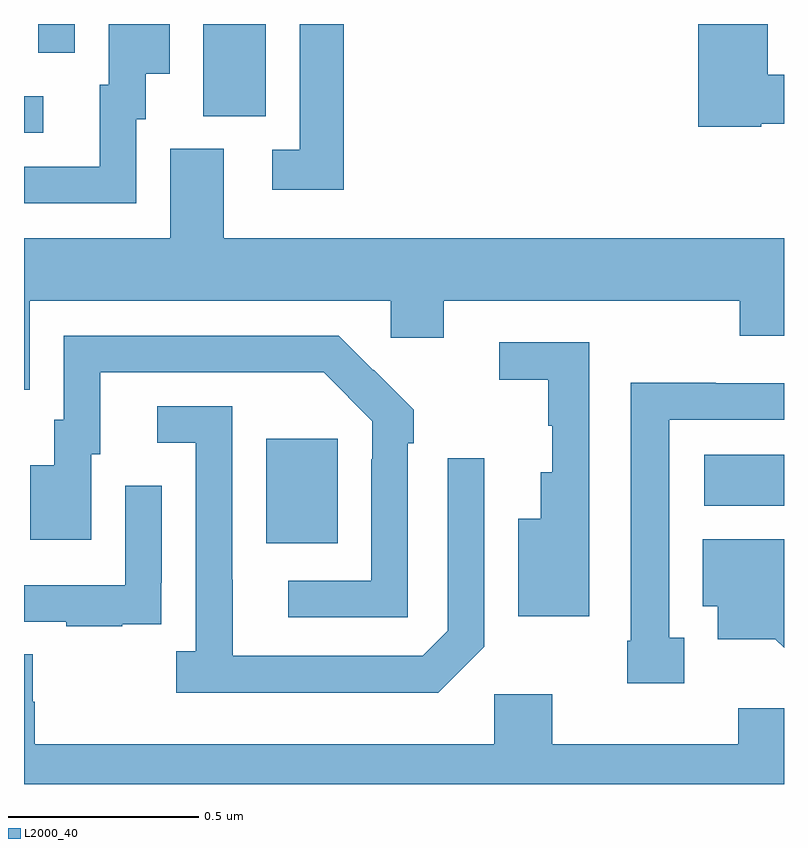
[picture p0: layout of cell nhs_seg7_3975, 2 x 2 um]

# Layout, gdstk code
import gdstk
lib = gdstk.Library(unit=1e-6, precision=1e-09)
def R(c, l, rs):  # rectangles x0, y0, x1, y1
    for r in rs: c.add(gdstk.rectangle(r[:2], r[2:], *l))
def P(c, l, *ps):  # polygons
    for p in ps: c.add(gdstk.Polygon(p, *l))
L2000_40 = (2000, 40)

nhs_seg7_3975 = lib.new_cell('nhs_seg7_3975')
R(nhs_seg7_3975, L2000_40, [(166.637,1010.633,166.825,1010.908), (167.79,1010.732,168,1010.866), (166,1011.714,166.051,1011.81), (166.472,1011.757,166.636,1012), (166.038,1011.924,166.134,1012)])
P(nhs_seg7_3975, L2000_40, [(166.296,1011.75),(166.321,1011.75),(166.321,1011.869),(166.384,1011.869),(166.384,1012),(166.223,1012),(166.223,1011.84),(166.199,1011.84),(166.199,1011.624),(166,1011.624),(166,1011.528),(166.296,1011.528)],
  [(166.841,1012),(166.725,1012),(166.725,1011.669),(166.653,1011.669),(166.653,1011.564),(166.841,1011.564)],
  [(167.94,1011.738),(168,1011.738),(168,1011.866),(167.957,1011.866),(167.957,1012),(167.774,1012),(167.774,1011.73),(167.94,1011.73)],
  [(166.015,1011.272),(166.965,1011.272),(166.965,1011.174),(167.104,1011.174),(167.104,1011.272),(167.884,1011.272),(167.884,1011.179),(168,1011.179),(168,1011.436),(166.525,1011.436),(166.525,1011.672),(166.385,1011.672),(166.385,1011.436),(166,1011.436),(166,1011.037),(166.015,1011.037)],
  [(167.01,1010.897),(167.025,1010.897),(167.025,1010.985),(166.92,1011.09),(166.919,1011.089),(166.828,1011.18),(166.104,1011.18),(166.104,1010.958),(166.079,1010.958),(166.079,1010.839),(166.016,1010.839),(166.016,1010.643),(166.177,1010.643),(166.177,1010.868),(166.201,1010.868),(166.201,1011.084),(166.789,1011.084),(166.917,1010.955),(166.917,1010.855),(166.914,1010.855),(166.914,1010.535),(166.695,1010.535),(166.695,1010.439),(167.01,1010.439)],
  [(167.488,1010.694),(167.487,1010.694),(167.487,1011.162),(167.25,1011.162),(167.25,1011.064),(167.379,1011.064),(167.379,1010.943),(167.39,1010.943),(167.39,1010.821),(167.36,1010.821),(167.36,1010.698),(167.3,1010.698),(167.3,1010.441),(167.488,1010.441)],
  [(167.737,1010.385),(167.698,1010.385),(167.698,1010.958),(168,1010.958),(168,1011.054),(167.82,1011.054),(167.82,1011.056),(167.597,1011.056),(167.597,1010.377),(167.587,1010.377),(167.587,1010.265),(167.737,1010.265)],
  [(167.211,1010.361),(167.211,1010.857),(167.115,1010.857),(167.115,1010.403),(167.049,1010.337),(166.549,1010.337),(166.549,1010.537),(166.548,1010.537),(166.548,1010.994),(166.35,1010.994),(166.35,1010.898),(166.452,1010.898),(166.452,1010.35),(166.401,1010.35),(166.401,1010.24),(167.09,1010.24)],
  [(166.259,1010.421),(166.361,1010.421),(166.361,1010.53),(166.362,1010.53),(166.362,1010.785),(166.266,1010.785),(166.266,1010.523),(166,1010.523),(166,1010.427),(166.111,1010.427),(166.111,1010.415),(166.259,1010.415)],
  [(168,1010.644),(167.786,1010.644),(167.786,1010.468),(167.825,1010.468),(167.825,1010.381),(167.977,1010.381),(168,1010.358)],
  [(168,1010.2),(167.879,1010.2),(167.879,1010.104),(167.39,1010.104),(167.39,1010.236),(167.238,1010.236),(167.238,1010.104),(166.028,1010.104),(166.028,1010.217),(166.023,1010.217),(166.023,1010.342),(166,1010.342),(166,1010),(168,1010)])

lib.write_gds('nhs_seg7_3975.gds')
